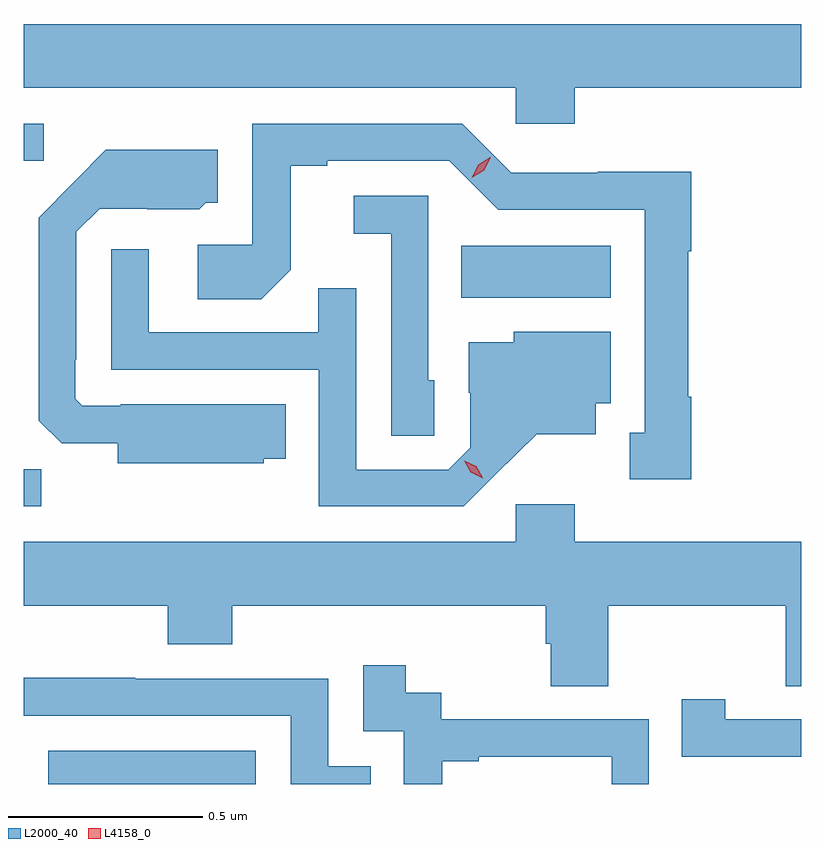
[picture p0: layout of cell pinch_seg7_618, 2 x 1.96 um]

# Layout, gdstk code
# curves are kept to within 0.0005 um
import gdstk
lib = gdstk.Library(unit=1e-6, precision=1e-09)
def R(c, l, rs):  # rectangles x0, y0, x1, y1
    for r in rs: c.add(gdstk.rectangle(r[:2], r[2:], *l))
def P(c, l, *ps):  # polygons
    for p in ps: c.add(gdstk.Polygon(p, *l))
L2000_40 = (2000, 40)
L4158_0 = (4158, 0)

pinch_seg7_618 = lib.new_cell('pinch_seg7_618')
R(pinch_seg7_618, L2000_40, [(184.035,1046.777,184.569,1046.862), (183.972,1047.492,184.017,1047.587), (185.098,1048.028,185.482,1048.162), (183.972,1048.38,184.024,1048.476)])
P(pinch_seg7_618, L2000_40, [(185.39,1048.568),(185.972,1048.568),(185.972,1048.732),(183.972,1048.732),(183.972,1048.568),(185.238,1048.568),(185.238,1048.475),(185.39,1048.475)],
  [(185.689,1047.773),(185.681,1047.773),(185.681,1048.147),(185.689,1048.147),(185.689,1048.352),(185.448,1048.352),(185.448,1048.35),(185.226,1048.35),(185.1,1048.476),(184.56,1048.476),(184.56,1048.164),(184.419,1048.164),(184.419,1048.024),(184.583,1048.024),(184.659,1048.1),(184.659,1048.368),(184.753,1048.368),(184.753,1048.38),(185.067,1048.38),(185.193,1048.254),(185.57,1048.254),(185.57,1047.681),(185.531,1047.681),(185.531,1047.561),(185.689,1047.561)],
  [(184.59,1047.614),(184.646,1047.614),(184.646,1047.754),(184.222,1047.754),(184.222,1047.75),(184.122,1047.75),(184.104,1047.768),(184.104,1047.868),(184.107,1047.868),(184.107,1048.197),(184.167,1048.257),(184.29,1048.257),(184.29,1048.256),(184.424,1048.256),(184.44,1048.272),(184.471,1048.272),(184.471,1048.408),(184.183,1048.408),(184.011,1048.234),(184.011,1047.712),(184.07,1047.653),(184.214,1047.653),(184.214,1047.602),(184.59,1047.602)],
  [(185.028,1047.816),(185.013,1047.816),(185.013,1048.29),(184.821,1048.29),(184.821,1048.193),(184.917,1048.193),(184.917,1047.673),(185.028,1047.673)],
  [(185.188,1047.575),(185.291,1047.677),(185.443,1047.677),(185.443,1047.756),(185.482,1047.756),(185.482,1047.94),(185.232,1047.94),(185.232,1047.913),(185.117,1047.913),(185.117,1047.784),(185.121,1047.784),(185.121,1047.642),(185.064,1047.585),(184.827,1047.585),(184.827,1048.052),(184.729,1048.052),(184.729,1047.939),(184.293,1047.939),(184.293,1048.153),(184.197,1048.153),(184.197,1047.843),(184.731,1047.843),(184.731,1047.492),(185.104,1047.492)],
  [(185.475,1047.236),(185.932,1047.236),(185.932,1047.028),(185.972,1047.028),(185.972,1047.4),(185.39,1047.4),(185.39,1047.496),(185.238,1047.496),(185.238,1047.4),(183.972,1047.4),(183.972,1047.236),(184.343,1047.236),(184.343,1047.137),(184.508,1047.137),(184.508,1047.236),(185.315,1047.236),(185.315,1047.138),(185.327,1047.138),(185.327,1047.028),(185.475,1047.028)],
  [(185.048,1046.835),(185.143,1046.835),(185.143,1046.847),(185.484,1046.847),(185.484,1046.777),(185.58,1046.777),(185.58,1046.943),(185.046,1046.943),(185.046,1047.012),(184.954,1047.012),(184.954,1047.082),(184.845,1047.082),(184.845,1046.913),(184.95,1046.913),(184.95,1046.777),(185.048,1046.777)],
  [(184.865,1046.823),(184.755,1046.823),(184.755,1047.048),(184.259,1047.048),(184.259,1047.05),(183.972,1047.05),(183.972,1046.952),(184.659,1046.952),(184.659,1046.777),(184.865,1046.777)],
  [(185.972,1046.943),(185.776,1046.943),(185.776,1046.995),(185.665,1046.995),(185.665,1046.847),(185.972,1046.847)])
P(pinch_seg7_618, L4158_0, [(185.124,1048.337),(185.124,1048.337),(185.141,1048.37),(185.172,1048.389),(185.173,1048.389),(185.173,1048.389),(185.156,1048.356),(185.124,1048.337)],
  [(185.153,1047.564),(185.122,1047.579),(185.105,1047.609),(185.105,1047.609),(185.105,1047.609),(185.136,1047.594),(185.153,1047.565),(185.153,1047.564)])

lib.write_gds('pinch_seg7_618.gds')
